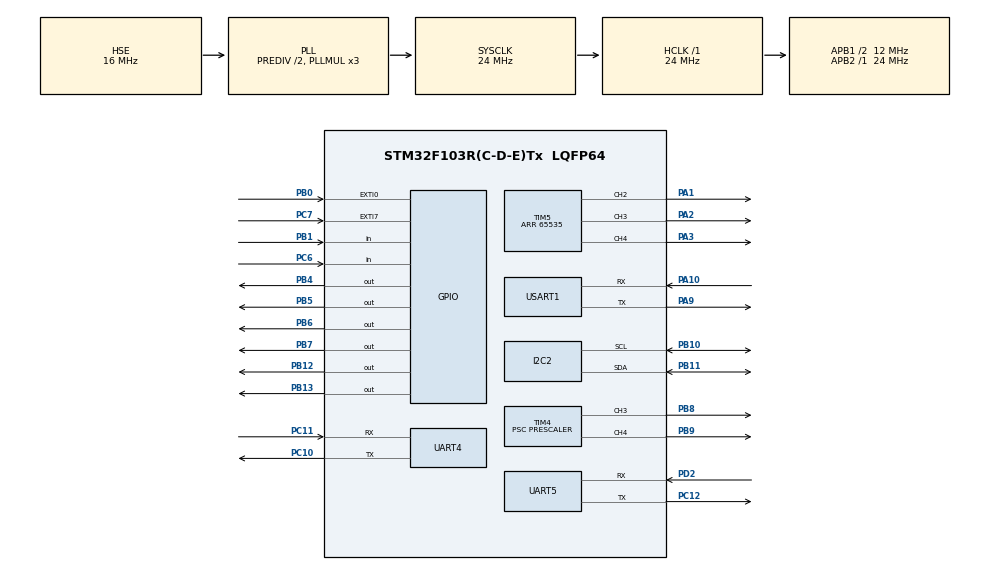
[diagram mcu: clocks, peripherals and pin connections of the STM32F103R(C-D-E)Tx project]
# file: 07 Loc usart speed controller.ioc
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Mcu.Family=STM32F1
Mcu.Name=STM32F103R(C-D-E)Tx
Mcu.Package=LQFP64
NVIC.EXTI0_IRQn=true\:0\:0\:false\:false\:true\:true\:true\:true
NVIC.EXTI9_5_IRQn=true\:0\:0\:false\:false\:true\:true\:true\:true
NVIC.PriorityGroup=NVIC_PRIORITYGROUP_4
NVIC.TIM1_UP_IRQn=true\:0\:0\:true\:false\:true\:true\:true\:true
NVIC.TIM4_IRQn=true\:1\:0\:true\:false\:true\:true\:true\:true
NVIC.UART4_IRQn=true\:0\:0\:false\:false\:true\:true\:true\:true
NVIC.UART5_IRQn=true\:0\:0\:false\:false\:true\:true\:true\:true
NVIC.USART1_IRQn=true\:0\:0\:false\:false\:true\:true\:true\:true
PA1.Signal=S_TIM5_CH2
PA10.Mode=Asynchronous
PA10.Signal=USART1_RX
PA13.Mode=Serial_Wire
PA13.Signal=SYS_JTMS-SWDIO
PA14.Mode=Serial_Wire
PA14.Signal=SYS_JTCK-SWCLK
PA2.Signal=S_TIM5_CH3
PA3.Signal=S_TIM5_CH4
PA9.Mode=Asynchronous
PA9.Signal=USART1_TX
PB0.GPIO_PuPd=GPIO_PULLDOWN
PB0.Signal=GPXTI0
PB1.Signal=GPIO_Input
PB10.Mode=I2C
PB10.Signal=I2C2_SCL
PB11.Mode=I2C
PB11.Signal=I2C2_SDA
PB12.GPIO_PuPd=GPIO_PULLUP
PB12.Signal=GPIO_Output
PB13.GPIO_PuPd=GPIO_PULLUP
PB13.Signal=GPIO_Output
PB4.Signal=GPIO_Output
PB5.Signal=GPIO_Output
PB6.Signal=GPIO_Output
PB7.Signal=GPIO_Output
PB8.Signal=S_TIM4_CH3
PB9.Signal=S_TIM4_CH4
PC10.Mode=Asynchronous
PC10.Signal=UART4_TX
PC11.Mode=Asynchronous
PC11.Signal=UART4_RX
PC12.Mode=Asynchronous
PC12.Signal=UART5_TX
PC6.Signal=GPIO_Input
PC7.GPIO_PuPd=GPIO_PULLDOWN
PC7.Signal=GPXTI7
PD0-OSC_IN.Mode=HSE-External-Oscillator
PD0-OSC_IN.Signal=RCC_OSC_IN
PD1-OSC_OUT.Mode=HSE-External-Oscillator
PD1-OSC_OUT.Signal=RCC_OSC_OUT
PD2.Mode=Asynchronous
PD2.Signal=UART5_RX
ProjectManager.HeapSize=0x200
ProjectManager.StackSize=0x400
ProjectManager.TargetToolchain=MDK-ARM V5.32
RCC.AHBFreq_Value=24000000
RCC.APB1CLKDivider=RCC_HCLK_DIV2
RCC.APB1Freq_Value=12000000
RCC.APB1TimFreq_Value=24000000
RCC.APB2Freq_Value=24000000
RCC.APB2TimFreq_Value=24000000
RCC.EnbaleCSS=true
RCC.HCLKFreq_Value=24000000
RCC.HSEDivPLL=RCC_HSE_PREDIV_DIV2
RCC.HSE_VALUE=16000000
RCC.PLLMUL=RCC_PLL_MUL3
RCC.PLLSourceVirtual=RCC_PLLSOURCE_HSE
RCC.SYSCLKFreq_VALUE=24000000
RCC.SYSCLKSource=RCC_SYSCLKSOURCE_PLLCLK
RCC.USBFreq_Value=24000000
SH.S_TIM4_CH3.0=TIM4_CH3,PWM Generation3 CH3
SH.S_TIM4_CH4.0=TIM4_CH4,PWM Generation4 CH4
SH.S_TIM5_CH2.0=TIM5_CH2,PWM Generation2 CH2
SH.S_TIM5_CH3.0=TIM5_CH3,PWM Generation3 CH3
SH.S_TIM5_CH4.0=TIM5_CH4,PWM Generation4 CH4
TIM1.Period=TIM1_PERIOD
TIM1.Prescaler=23999
TIM4.Channel-PWM\ Generation3\ CH3=TIM_CHANNEL_3
TIM4.Channel-PWM\ Generation4\ CH4=TIM_CHANNEL_4
TIM4.Period=PWM_PERIOD
TIM4.Prescaler=PRESCALER
TIM5.Channel-PWM\ Generation2\ CH2=TIM_CHANNEL_2
TIM5.Channel-PWM\ Generation3\ CH3=TIM_CHANNEL_3
TIM5.Channel-PWM\ Generation4\ CH4=TIM_CHANNEL_4
TIM5.Period=65535
UART4.VirtualMode=Asynchronous
UART5.VirtualMode=Asynchronous
USART1.VirtualMode=VM_ASYNC
VP_TIM1_VS_ClockSourceINT.Mode=Internal
VP_TIM4_VS_ClockSourceINT.Mode=Internal
board=custom

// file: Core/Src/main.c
/* USER CODE BEGIN Header */
/**
  ******************************************************************************
  * @file           : main.c
  * @brief          : Main program body
  ******************************************************************************
  * @attention
  *
  * Copyright (c) 2023 STMicroelectronics.
  * All rights reserved.
  *
  * This software is licensed under terms that can be found in the LICENSE file
  * in the root directory of this software component.
  * If no LICENSE file comes with this software, it is provided AS-IS.
  *
  ******************************************************************************
  */
/* USER CODE END Header */
#include "main.h"

/* USER CODE BEGIN Includes */
#include "math.h"
/* USER CODE END Includes */

/* USER CODE BEGIN PD */
#define PRESCALER 	  49
#define PWM_PERIOD 		999
#define TIM1_PERIOD 	59
#define NUM_OF_HOLES    12100

#define LED1_ON				HAL_GPIO_WritePin(GPIOB, GPIO_PIN_12, GPIO_PIN_RESET)
#define LED1_OFF			HAL_GPIO_WritePin(GPIOB, GPIO_PIN_12, GPIO_PIN_SET)
#define LED2_ON				HAL_GPIO_WritePin(GPIOB, GPIO_PIN_13, GPIO_PIN_RESET)
#define LED2_OFF			HAL_GPIO_WritePin(GPIOB, GPIO_PIN_13, GPIO_PIN_SET)
#define LED1_TGL			HAL_GPIO_TogglePin(GPIOB, GPIO_PIN_12)
#define LED2_TGL			HAL_GPIO_TogglePin(GPIOB, GPIO_PIN_13)
#define USART_BUFFER_SIZE 4

/* USER CODE END PD */

I2C_HandleTypeDef hi2c2;

TIM_HandleTypeDef htim1;
TIM_HandleTypeDef htim4;
TIM_HandleTypeDef htim5;

UART_HandleTypeDef huart4;
UART_HandleTypeDef huart5;
UART_HandleTypeDef huart1;

/* USER CODE BEGIN PV */

// ------- Defines Variables
#define pi 3.14159265359 //3.142
#define M_PI pi
#define M_2PI 2*pi
// ------- ADC Variables

int  contL = 0, contR = 0;
uint16_t readValueL, readValueR;
float rawVoltageL, rawVoltageR;
float sumL = 0, sumR = 0, currentL, currentR;
uint32_t AD_RES=0;

// ------- Motor PID Variables
float kpR  = 0.6  , kpL = 0.6;
float ki_R = 0.01 , ki_L = 0.01;
float kd_R = 5.5, kd_L = 5.5;
char forwardR, forwardL, backwardR, backwardL, increasingSpeed=1;
char speedFlag=0, currentFlag=0;
int pid_last_time=0;
double integralError_r = 0, difrentialError_r = 0, lastErrorRight = 0;
double integralError_l = 0, difrentialError_l = 0, lastErrorLeftt = 0;
float counterRight, counterLeft, rpmRight, rpmLeft, counterBackRight, counterBackLeft;
float rpmRightD, rpmLeftD, errorRight, errorLeft;
int rPWM = 0;
int lPWM = 0;
int delta_rPWM, delta_lPWM;

// ------- Motor Torque Variables
float KTL = 1, KTR = 1;
int errorTorRight=0, errorTorLeft=0;
int torRightD, torLeftD, torRight, torLeft;

// ------- USART Variables
uint8_t Rx_data[USART_BUFFER_SIZE];
char locFlag = 0;
int got_x, got_y, got_angle;

// ------- Kinematic Variables
float time=0;
char derivationFlag=0;
int cnt = 0;
/*
float x = 0.55, y = 0, angle=3.14/2;
float Xi1, Xi2;
float lastalpha=0, alpha, z1, z2;
float alphadot=0;
float ls1 = 0.55,ls2 = 1.35,ls31 = 2.75,ls32 = 1.65,le1 = 0.35,le2 = 0.35,le31 = 1.5,le32 = 1.2;
float k1 = 50.0,k2 = 50.0,k3 = 2.0, k4 = 1.0, k5 = 1.0, k41 = 2, k42 = 2;
float V, w;
float width = 0.125, r = 0.06;
float _xcd, _ycd, _thetad, _wd, _x2d, _x3d, _x2, _x3;
float A, B;
float speed = 0.1;
*/

/* USER CODE END PV */

void SystemClock_Config(void);
static void MX_GPIO_Init(void);
static void MX_TIM1_Init(void);
static void MX_USART1_UART_Init(void);
static void MX_TIM4_Init(void);
static void MX_I2C2_Init(void);
static void MX_UART4_Init(void);
static void MX_UART5_Init(void);
static void MX_TIM5_Init(void);

/* USER CODE BEGIN 0 */

void Motor_PWM_Right(int PWM){

	if(PWM >= 0){
	forwardR = 1;
		HAL_GPIO_WritePin(GPIOB, GPIO_PIN_7, GPIO_PIN_RESET);
		HAL_GPIO_WritePin(GPIOB, GPIO_PIN_6, GPIO_PIN_SET);
		__HAL_TIM_SET_COMPARE(&htim4, TIM_CHANNEL_3, PWM);

	}
	else{
		forwardR = 0;
		PWM = -PWM;
		HAL_GPIO_WritePin(GPIOB, GPIO_PIN_7, GPIO_PIN_SET);
		HAL_GPIO_WritePin(GPIOB, GPIO_PIN_6, GPIO_PIN_RESET);
		__HAL_TIM_SET_COMPARE(&htim4, TIM_CHANNEL_3, PWM);

	}

}

void Motor_PWM_Left(int PWM){

	if(PWM >= 0){
	forwardL = 1;
		HAL_GPIO_WritePin(GPIOB, GPIO_PIN_4, GPIO_PIN_RESET);
		HAL_GPIO_WritePin(GPIOB, GPIO_PIN_5, GPIO_PIN_SET);
		__HAL_TIM_SET_COMPARE(&htim4, TIM_CHANNEL_4, PWM);

	}
	else{
		forwardL = 0;
		PWM = -PWM;
		HAL_GPIO_WritePin(GPIOB, GPIO_PIN_4, GPIO_PIN_SET);
		HAL_GPIO_WritePin(GPIOB, GPIO_PIN_5, GPIO_PIN_RESET);
		__HAL_TIM_SET_COMPARE(&htim4, TIM_CHANNEL_4, PWM);

	}

}
int turn;
// ------- Math Additional Functions
inline double constrainAngle(double x){
    x = fmod(x + M_PI,M_2PI);
    if (x < 0) x += M_2PI;
    return x - M_PI;
}
inline double angleConv(double angle){
    return fmod(constrainAngle(angle),M_2PI);
}
inline double angleDiff(double a,double b){
    double dif = fmod(b - a + M_PI,M_2PI);
    if (dif < 0)
        dif += M_2PI;
    return dif - M_PI;
}
inline double unwrap(double previousAngle,double newAngle){
    return previousAngle - angleDiff(newAngle,angleConv(previousAngle));
}
float sin2(float val){
	return pow(sin(val), 2);
}
float cos2(float val){
	return pow(cos(val), 2);
}
double absf(double input){
	if(input >= 0) return input;
	return -input;
}

// ------- Kinematic Functions
/*
float xcd(float time){
	return 0.45 * cos(time*speed);// + 2.2;
}
float ycd(float time){
	return 0.30 * sin(time*speed);// + 1.7;
}
float thetad(float time){
	float theta = atan2(0.30*cos(time*speed), -0.45*sin(time*speed));
	return unwrap(_thetad, theta);
}
float wd(float time){
	return (6*speed * (sin2(time*speed) +   cos2(time*speed))) /	(9*sin2(time*speed) + 4*cos2(time*speed));
}
float x2d(){
	return (_xcd * cos(_thetad)) + (_ycd * sin(_thetad));
}
float x3d(){
	return (_xcd * sin(_thetad)) - (_ycd * cos(_thetad));
}
float x2(float xc, float yc){
	return (xc * cos(angle)) + (yc * sin(angle));
}
float x3(float xc, float yc){
	return (xc * sin(angle)) - (yc * cos(angle));
}
*/

// ------- Interrupt CallBack Functions
void HAL_UART_RxCpltCallback(UART_HandleTypeDef *huart){
	locFlag = 1;
}
void HAL_TIM_PeriodElapsedCallback(TIM_HandleTypeDef *htim){
	if(htim -> Instance == TIM1){
		speedFlag = 1;
	}
	/*
	if(htim -> Instance == TIM4){
		time += 0.2;
		derivationFlag = 1;
	}
	*/
}
void HAL_GPIO_EXTI_Callback(uint16_t GPIO_Pin){
	/////////// Right //////////
	if(GPIO_Pin == GPIO_PIN_7){
		if(forwardR == 1){ //HAL_GPIO_ReadPin(GPIOC, GPIO_PIN_6)){
			counterRight++;
//			forwardR = 1;
		}
		else{
			counterBackRight++;
//			forwardR = 0;
		}
	}
	/////////// Left //////////
	if(GPIO_Pin == GPIO_PIN_0){
		if(forwardL == 1){ //!HAL_GPIO_ReadPin(GPIOB, GPIO_PIN_1)){
			counterLeft++;
//			forwardL = 1;
		}
		else{
			counterBackLeft++;
//			forwardL = 0;
		}
	}
}

/* USER CODE END 0 */

int main(void)
{

  /* MCU Configuration--------------------------------------------------------*/

  /* Reset of all peripherals, Initializes the Flash interface and the Systick. */
  HAL_Init();

  /* Configure the system clock */
  SystemClock_Config();

  /* Initialize all configured peripherals */
  MX_GPIO_Init();
  MX_TIM1_Init();
  MX_USART1_UART_Init();
  MX_TIM4_Init();
  MX_I2C2_Init();
  MX_UART4_Init();
  MX_UART5_Init();
  MX_TIM5_Init();
  /* USER CODE BEGIN 2 */

	//uint8_t temp_data;
	//HAL_UART_Receive(&huart1, &temp_data, USART_BUFFER_SIZE, HAL_MAX_DELAY);
	HAL_TIM_PWM_Start(&htim4, TIM_CHANNEL_3);
	HAL_TIM_PWM_Start(&htim4, TIM_CHANNEL_4);
	HAL_TIM_PWM_Start(&htim5, TIM_CHANNEL_2);
	HAL_TIM_PWM_Start(&htim5, TIM_CHANNEL_3);
	HAL_TIM_PWM_Start(&htim5, TIM_CHANNEL_4);

	HAL_TIM_Base_Start_IT(&htim1);
//	HAL_TIM_Base_Start_IT(&htim4);

//	HAL_ADC_Start_DMA(&hadc1, &AD_RES, 1);

	////////////// left /////////////////////////////
	HAL_GPIO_WritePin(GPIOB, GPIO_PIN_4, GPIO_PIN_RESET);
	HAL_GPIO_WritePin(GPIOB, GPIO_PIN_5, GPIO_PIN_SET);

	////////////// Right /////////////////////////////
	HAL_GPIO_WritePin(GPIOB, GPIO_PIN_7, GPIO_PIN_SET);
	HAL_GPIO_WritePin(GPIOB, GPIO_PIN_6, GPIO_PIN_RESET);

	HAL_UART_Receive_IT(&huart5, Rx_data, USART_BUFFER_SIZE);

	LED1_OFF;
	LED2_OFF;
	for(int i=0; i<65535; i+=10){
		TIM5->CCR2 = 65535 - i;			//G
		TIM5->CCR3 = 65535;			//R
		TIM5->CCR4 = 65535; //B
	}
	TIM5->CCR2 = 65535;			//G
	TIM5->CCR3 = 65535;			//R
	TIM5->CCR4 = 65535; //B
  /* USER CODE END 2 */

  /* Infinite loop */
  /* USER CODE BEGIN WHILE */
  while (1)
  {

//		LED1_ON;
//		HAL_Delay(3000);
//		LED1_OFF;
//		HAL_Delay(1000);
//		LED2_ON;
//		HAL_Delay(3000);
//		LED2_OFF;
//		HAL_Delay(1000);
		if(speedFlag){
			if(forwardR)
				rpmRight = (counterRight * 60000/(TIM1_PERIOD+1))/NUM_OF_HOLES;
			if(forwardL)
				rpmLeft = (counterLeft *  60000/(TIM1_PERIOD+1))/NUM_OF_HOLES;
			if(!forwardR)
				rpmRight = -(counterBackRight *  60000/(TIM1_PERIOD+1))/NUM_OF_HOLES;
			if(!forwardL)
				rpmLeft = -(counterBackLeft *  60000/(TIM1_PERIOD+1))/NUM_OF_HOLES;
			counterBackRight = 0;
			counterBackLeft = 0;
			counterRight = 0;
			counterLeft = 0;
			speedFlag = 0;

		}

		if(locFlag){

			LED1_OFF;
			rpmLeftD = ((Rx_data[0] | (Rx_data[1]<<8)) - 9000)/100.0;
			rpmRightD= ((Rx_data[2] | (Rx_data[3]<<8)) - 9000)/100.0;
			if(rpmRight > 5)  rpmRightD -= 5;
			if(rpmRight < -5) rpmRightD += 5;
			/*
			got_x = Rx_data[0];
			got_x |= Rx_data[1]<<8;
			x = (got_x/100.0) - 1.55;
			got_y = Rx_data[2];
			got_y |= Rx_data[3]<<8;
			y = (got_y/100.0) - 0.90;
			got_angle = Rx_data[4];
			got_angle |= Rx_data[5]<<8;
			angle = unwrap(angle, ((float) got_angle) * pi / 180);
			*/
			HAL_UART_Receive_IT(&huart5, Rx_data, USART_BUFFER_SIZE);
			locFlag = 0;
		}

/*
		_xcd = xcd(time);
		_ycd = ycd(time);
		_thetad = thetad(time);
		_wd = wd(time);
		_x2d = x2d();
		_x3d = x3d();
		_x2 = x2(x, y);
		_x3 = x3(x, y);

		Xi1 = _wd + (k3 * (_thetad - angle));
		z1 = _x3d - _x3;
		A = pow(le1,2) - pow(z1,2);
		alpha = _x2d + (A * k1 * z1 * _wd);
		z2 = alpha - _x2;
		B = pow(le2,2) - pow(z2,2);

		if(derivationFlag){
			alphadot = (alpha - lastalpha)/0.2; //((TIM4_PERIOD+1)/1000);
			derivationFlag = 0;
			lastalpha = alpha;
		}
		Xi2 = alphadot + (B * k2 * z2 * pow(_wd,2)) + ((B / A) * k5 * z1 * _wd);
		V = _x3 * Xi1 + k4 * Xi2;
		w = Xi1;

		rpmRightD = (V + (width*w))/r;
		rpmLeftD = (V - (width*w))/r;
		*/

//
		if(rpmRightD > 90) LED2_ON;
		else							 LED2_OFF;
		if(rpmLeftD > 90)  LED1_ON;
		else							 LED1_OFF;

<<<<<<< HEAD

//		rpmRightD = 55;
//		rpmLeftD = 60;
//		if(cnt < 100000){
//			rpmRightD = 15;
//			rpmLeftD = 15;
//		}
//		else if(cnt < 200000){
//			rpmRightD = 80;
//			rpmLeftD = 80;
//		}
//		else cnt = 0;
//		cnt++;
=======
//
//		rpmRightD = 30;
//		rpmLeftD = 30;

>>>>>>> 8b32d7389a836a28a1c2a065bc894082e6c592b3

		/////////////////////////////////////////////////// PID Farhan
		if(HAL_GetTick() - pid_last_time > 5){
			errorRight = rpmRightD - rpmRight;
			errorLeft = rpmLeftD - rpmLeft;
			integralError_r   += (errorRight - lastErrorRight);
			difrentialError_r = (errorRight - lastErrorRight);
			integralError_l   += (errorLeft  - lastErrorLeftt);
			difrentialError_l = (errorLeft  - lastErrorLeftt);
			lastErrorLeftt = errorLeft;
			lastErrorRight = errorRight;
			pid_last_time = HAL_GetTick();
			delta_rPWM = kpR*errorRight + ki_R*integralError_r + kd_R*difrentialError_r;
			delta_lPWM = kpL*errorLeft  + ki_L*integralError_l + kd_L*difrentialError_l;
			rPWM = rPWM + delta_rPWM;
			lPWM = lPWM + delta_lPWM;
		}

		/////////////////////////////////////////////////// END

		if(rPWM > PWM_PERIOD) 				 rPWM = PWM_PERIOD;
		else if(rPWM < -PWM_PERIOD)		 rPWM = -PWM_PERIOD;
		if(rpmRightD == 0 && rPWM !=0) rPWM = 0;
		Motor_PWM_Right(rPWM);

		if(lPWM > PWM_PERIOD)					lPWM = PWM_PERIOD;
		else if(lPWM < -PWM_PERIOD)		lPWM = -PWM_PERIOD;
		if(rpmLeftD == 0 && lPWM !=0)	lPWM = 0;
		Motor_PWM_Left(lPWM);

//Motor_PWM_Right(700);
//Motor_PWM_Left(-700);

//HAL_GPIO_WritePin(GPIOA, GPIO_PIN_2, GPIO_PIN_SET);

/////////////////// End of Speed Control ///////////////////////////////

    /* USER CODE END WHILE */

  }
}

void SystemClock_Config(void)
{
  RCC_OscInitTypeDef RCC_OscInitStruct = {0};
  RCC_ClkInitTypeDef RCC_ClkInitStruct = {0};

  /** Initializes the RCC Oscillators according to the specified parameters
  * in the RCC_OscInitTypeDef structure.
  */
  RCC_OscInitStruct.OscillatorType = RCC_OSCILLATORTYPE_HSE;
  RCC_OscInitStruct.HSEState = RCC_HSE_ON;
  RCC_OscInitStruct.HSEPredivValue = RCC_HSE_PREDIV_DIV2;
  RCC_OscInitStruct.HSIState = RCC_HSI_ON;
  RCC_OscInitStruct.PLL.PLLState = RCC_PLL_ON;
  RCC_OscInitStruct.PLL.PLLSource = RCC_PLLSOURCE_HSE;
  RCC_OscInitStruct.PLL.PLLMUL = RCC_PLL_MUL3;
  if (HAL_RCC_OscConfig(&RCC_OscInitStruct) != HAL_OK)
  {
    Error_Handler();
  }

  /** Initializes the CPU, AHB and APB buses clocks
  */
  RCC_ClkInitStruct.ClockType = RCC_CLOCKTYPE_HCLK|RCC_CLOCKTYPE_SYSCLK
                              |RCC_CLOCKTYPE_PCLK1|RCC_CLOCKTYPE_PCLK2;
  RCC_ClkInitStruct.SYSCLKSource = RCC_SYSCLKSOURCE_PLLCLK;
  RCC_ClkInitStruct.AHBCLKDivider = RCC_SYSCLK_DIV1;
  RCC_ClkInitStruct.APB1CLKDivider = RCC_HCLK_DIV2;
  RCC_ClkInitStruct.APB2CLKDivider = RCC_HCLK_DIV1;

  if (HAL_RCC_ClockConfig(&RCC_ClkInitStruct, FLASH_LATENCY_0) != HAL_OK)
  {
    Error_Handler();
  }

  /** Enables the Clock Security System
  */
  HAL_RCC_EnableCSS();
}

static void MX_I2C2_Init(void)
{

  hi2c2.Instance = I2C2;
  hi2c2.Init.ClockSpeed = 100000;
  hi2c2.Init.DutyCycle = I2C_DUTYCYCLE_2;
  hi2c2.Init.OwnAddress1 = 0;
  hi2c2.Init.AddressingMode = I2C_ADDRESSINGMODE_7BIT;
  hi2c2.Init.DualAddressMode = I2C_DUALADDRESS_DISABLE;
  hi2c2.Init.OwnAddress2 = 0;
  hi2c2.Init.GeneralCallMode = I2C_GENERALCALL_DISABLE;
  hi2c2.Init.NoStretchMode = I2C_NOSTRETCH_DISABLE;
  if (HAL_I2C_Init(&hi2c2) != HAL_OK)
  {
    Error_Handler();
  }

}

static void MX_TIM1_Init(void)
{

  TIM_ClockConfigTypeDef sClockSourceConfig = {0};
  TIM_MasterConfigTypeDef sMasterConfig = {0};

  htim1.Instance = TIM1;
  htim1.Init.Prescaler = 23999;
  htim1.Init.CounterMode = TIM_COUNTERMODE_UP;
  htim1.Init.Period = TIM1_PERIOD;
  htim1.Init.ClockDivision = TIM_CLOCKDIVISION_DIV1;
  htim1.Init.RepetitionCounter = 0;
  htim1.Init.AutoReloadPreload = TIM_AUTORELOAD_PRELOAD_DISABLE;
  if (HAL_TIM_Base_Init(&htim1) != HAL_OK)
  {
    Error_Handler();
  }
  sClockSourceConfig.ClockSource = TIM_CLOCKSOURCE_INTERNAL;
  if (HAL_TIM_ConfigClockSource(&htim1, &sClockSourceConfig) != HAL_OK)
  {
    Error_Handler();
  }
  sMasterConfig.MasterOutputTrigger = TIM_TRGO_RESET;
  sMasterConfig.MasterSlaveMode = TIM_MASTERSLAVEMODE_DISABLE;
  if (HAL_TIMEx_MasterConfigSynchronization(&htim1, &sMasterConfig) != HAL_OK)
  {
    Error_Handler();
  }

}

static void MX_TIM4_Init(void)
{

  TIM_ClockConfigTypeDef sClockSourceConfig = {0};
  TIM_MasterConfigTypeDef sMasterConfig = {0};
  TIM_OC_InitTypeDef sConfigOC = {0};

  htim4.Instance = TIM4;
  htim4.Init.Prescaler = PRESCALER;
  htim4.Init.CounterMode = TIM_COUNTERMODE_UP;
  htim4.Init.Period = PWM_PERIOD;
  htim4.Init.ClockDivision = TIM_CLOCKDIVISION_DIV1;
  htim4.Init.AutoReloadPreload = TIM_AUTORELOAD_PRELOAD_DISABLE;
  if (HAL_TIM_Base_Init(&htim4) != HAL_OK)
  {
    Error_Handler();
  }
  sClockSourceConfig.ClockSource = TIM_CLOCKSOURCE_INTERNAL;
  if (HAL_TIM_ConfigClockSource(&htim4, &sClockSourceConfig) != HAL_OK)
  {
    Error_Handler();
  }
  if (HAL_TIM_PWM_Init(&htim4) != HAL_OK)
  {
    Error_Handler();
  }
  sMasterConfig.MasterOutputTrigger = TIM_TRGO_RESET;
  sMasterConfig.MasterSlaveMode = TIM_MASTERSLAVEMODE_DISABLE;
  if (HAL_TIMEx_MasterConfigSynchronization(&htim4, &sMasterConfig) != HAL_OK)
  {
    Error_Handler();
  }
  sConfigOC.OCMode = TIM_OCMODE_PWM1;
  sConfigOC.Pulse = 0;
  sConfigOC.OCPolarity = TIM_OCPOLARITY_HIGH;
  sConfigOC.OCFastMode = TIM_OCFAST_DISABLE;
  if (HAL_TIM_PWM_ConfigChannel(&htim4, &sConfigOC, TIM_CHANNEL_3) != HAL_OK)
  {
    Error_Handler();
  }
  if (HAL_TIM_PWM_ConfigChannel(&htim4, &sConfigOC, TIM_CHANNEL_4) != HAL_OK)
  {
    Error_Handler();
  }
  HAL_TIM_MspPostInit(&htim4);

}

static void MX_TIM5_Init(void)
{

  TIM_MasterConfigTypeDef sMasterConfig = {0};
  TIM_OC_InitTypeDef sConfigOC = {0};

  htim5.Instance = TIM5;
  htim5.Init.Prescaler = 0;
  htim5.Init.CounterMode = TIM_COUNTERMODE_UP;
  htim5.Init.Period = 65535;
  htim5.Init.ClockDivision = TIM_CLOCKDIVISION_DIV1;
  htim5.Init.AutoReloadPreload = TIM_AUTORELOAD_PRELOAD_DISABLE;
  if (HAL_TIM_PWM_Init(&htim5) != HAL_OK)
  {
    Error_Handler();
  }
  sMasterConfig.MasterOutputTrigger = TIM_TRGO_RESET;
  sMasterConfig.MasterSlaveMode = TIM_MASTERSLAVEMODE_DISABLE;
  if (HAL_TIMEx_MasterConfigSynchronization(&htim5, &sMasterConfig) != HAL_OK)
  {
    Error_Handler();
  }
  sConfigOC.OCMode = TIM_OCMODE_PWM1;
  sConfigOC.Pulse = 0;
  sConfigOC.OCPolarity = TIM_OCPOLARITY_HIGH;
  sConfigOC.OCFastMode = TIM_OCFAST_DISABLE;
  if (HAL_TIM_PWM_ConfigChannel(&htim5, &sConfigOC, TIM_CHANNEL_2) != HAL_OK)
  {
    Error_Handler();
  }
  if (HAL_TIM_PWM_ConfigChannel(&htim5, &sConfigOC, TIM_CHANNEL_3) != HAL_OK)
  {
    Error_Handler();
  }
  if (HAL_TIM_PWM_ConfigChannel(&htim5, &sConfigOC, TIM_CHANNEL_4) != HAL_OK)
  {
    Error_Handler();
  }
  HAL_TIM_MspPostInit(&htim5);

}

static void MX_UART4_Init(void)
{

  huart4.Instance = UART4;
  huart4.Init.BaudRate = 115200;
  huart4.Init.WordLength = UART_WORDLENGTH_8B;
  huart4.Init.StopBits = UART_STOPBITS_1;
  huart4.Init.Parity = UART_PARITY_NONE;
  huart4.Init.Mode = UART_MODE_TX_RX;
  huart4.Init.HwFlowCtl = UART_HWCONTROL_NONE;
  huart4.Init.OverSampling = UART_OVERSAMPLING_16;
  if (HAL_UART_Init(&huart4) != HAL_OK)
  {
    Error_Handler();
  }

}

static void MX_UART5_Init(void)
{

  huart5.Instance = UART5;
  huart5.Init.BaudRate = 115200;
  huart5.Init.WordLength = UART_WORDLENGTH_8B;
  huart5.Init.StopBits = UART_STOPBITS_1;
  huart5.Init.Parity = UART_PARITY_NONE;
  huart5.Init.Mode = UART_MODE_TX_RX;
  huart5.Init.HwFlowCtl = UART_HWCONTROL_NONE;
  huart5.Init.OverSampling = UART_OVERSAMPLING_16;
  if (HAL_UART_Init(&huart5) != HAL_OK)
  {
    Error_Handler();
  }

}

static void MX_USART1_UART_Init(void)
{

  huart1.Instance = USART1;
  huart1.Init.BaudRate = 115200;
  huart1.Init.WordLength = UART_WORDLENGTH_8B;
  huart1.Init.StopBits = UART_STOPBITS_1;
  huart1.Init.Parity = UART_PARITY_NONE;
  huart1.Init.Mode = UART_MODE_TX_RX;
  huart1.Init.HwFlowCtl = UART_HWCONTROL_NONE;
  huart1.Init.OverSampling = UART_OVERSAMPLING_16;
  if (HAL_UART_Init(&huart1) != HAL_OK)
  {
    Error_Handler();
  }

}

static void MX_GPIO_Init(void)
{
  GPIO_InitTypeDef GPIO_InitStruct = {0};

  /* GPIO Ports Clock Enable */
  __HAL_RCC_GPIOD_CLK_ENABLE();
  __HAL_RCC_GPIOA_CLK_ENABLE();
  __HAL_RCC_GPIOB_CLK_ENABLE();
  __HAL_RCC_GPIOC_CLK_ENABLE();

  /*Configure GPIO pin Output Level */
  HAL_GPIO_WritePin(GPIOB, GPIO_PIN_12|GPIO_PIN_13|GPIO_PIN_4|GPIO_PIN_5
                          |GPIO_PIN_6|GPIO_PIN_7, GPIO_PIN_RESET);

  /*Configure GPIO pin : PB0 */
  GPIO_InitStruct.Pin = GPIO_PIN_0;
  GPIO_InitStruct.Mode = GPIO_MODE_IT_RISING;
  GPIO_InitStruct.Pull = GPIO_PULLDOWN;
  HAL_GPIO_Init(GPIOB, &GPIO_InitStruct);

  /*Configure GPIO pin : PB1 */
  GPIO_InitStruct.Pin = GPIO_PIN_1;
  GPIO_InitStruct.Mode = GPIO_MODE_INPUT;
  GPIO_InitStruct.Pull = GPIO_NOPULL;
  HAL_GPIO_Init(GPIOB, &GPIO_InitStruct);

  /*Configure GPIO pins : PB12 PB13 */
  GPIO_InitStruct.Pin = GPIO_PIN_12|GPIO_PIN_13;
  GPIO_InitStruct.Mode = GPIO_MODE_OUTPUT_PP;
  GPIO_InitStruct.Pull = GPIO_PULLUP;
  GPIO_InitStruct.Speed = GPIO_SPEED_FREQ_LOW;
  HAL_GPIO_Init(GPIOB, &GPIO_InitStruct);

  /*Configure GPIO pin : PC6 */
  GPIO_InitStruct.Pin = GPIO_PIN_6;
  GPIO_InitStruct.Mode = GPIO_MODE_INPUT;
  GPIO_InitStruct.Pull = GPIO_NOPULL;
  HAL_GPIO_Init(GPIOC, &GPIO_InitStruct);

  /*Configure GPIO pin : PC7 */
  GPIO_InitStruct.Pin = GPIO_PIN_7;
  GPIO_InitStruct.Mode = GPIO_MODE_IT_RISING;
  GPIO_InitStruct.Pull = GPIO_PULLDOWN;
  HAL_GPIO_Init(GPIOC, &GPIO_InitStruct);

  /*Configure GPIO pins : PB4 PB5 PB6 PB7 */
  GPIO_InitStruct.Pin = GPIO_PIN_4|GPIO_PIN_5|GPIO_PIN_6|GPIO_PIN_7;
  GPIO_InitStruct.Mode = GPIO_MODE_OUTPUT_PP;
  GPIO_InitStruct.Pull = GPIO_NOPULL;
  GPIO_InitStruct.Speed = GPIO_SPEED_FREQ_LOW;
  HAL_GPIO_Init(GPIOB, &GPIO_InitStruct);

  /* EXTI interrupt init*/
  HAL_NVIC_SetPriority(EXTI0_IRQn, 0, 0);
  HAL_NVIC_EnableIRQ(EXTI0_IRQn);

  HAL_NVIC_SetPriority(EXTI9_5_IRQn, 0, 0);
  HAL_NVIC_EnableIRQ(EXTI9_5_IRQn);

}

void Error_Handler(void)
{
  __disable_irq();
  while (1)
  {
  }
}
